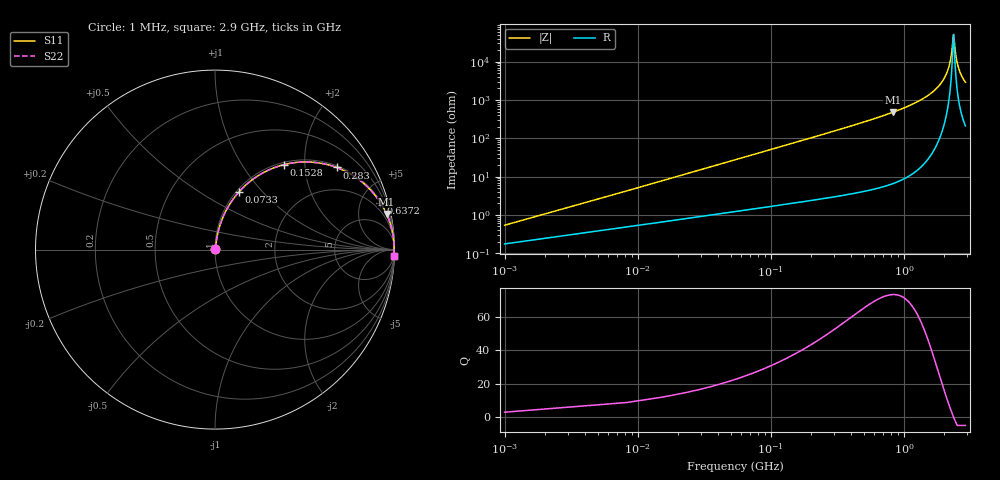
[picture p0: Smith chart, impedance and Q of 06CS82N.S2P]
! Coilcraft 0603CS-82N Chip Inductor
! 21 May 2002
# MHZ S MA R 50
!Freq  MagS11  AngS11  MagS21  AngS21  MagS12  AngS12  MagS22  AngS22
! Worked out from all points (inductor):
!   402 points, 1 MHz to 2.9 GHz, reference 50 ohm
!   read as one part in series: L = 81 nH near 15.46 MHz
!   highest Q = 73.1 at 825.2 MHz (marker M1), where L = 92.2 nH
!   self-resonance near 2.358 GHz
!   S11 on the Smith chart (normalised r, x): 1 MHz: 1.00, +0.01; 73.3 MHz: 1.03, +0.75; 152.8 MHz: 1.04, +1.56; 283 MHz: 1.06, +2.92; 637.2 MHz: 1.10, +6.99; 2.9 GHz: 5, -58
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1  0.005372 70.7  0.9982 -0.3  0.9982 -0.3  0.005372 70.7
22.69  0.1141 79.5  0.9857 -6.5  0.9857 -6.5  0.1141 79.5
29.92  0.1495 78.0  0.9799 -8.6  0.9799 -8.6  0.1495 78.0
51.61  0.2516 72.8  0.9565 -14.6  0.9565 -14.6  0.2516 72.8
73.3  0.3457 67.6  0.9252 -20.2  0.9252 -20.2  0.3457 67.6
152.83  0.6079 51.1  0.7781 -37.4  0.7781 -37.4  0.6079 51.1
282.97  0.8178 34.0  0.5596 -54.9  0.5596 -54.9  0.8178 34.0
485.41  0.9275 21.1  0.3596 -68.0  0.3596 -68.0  0.9275 21.1
637.24  0.9579 15.9  0.2739 -73.3  0.2739 -73.3  0.9579 15.9
825.22  0.9762 11.8  0.2041 -77.4  0.2041 -77.4  0.9762 11.8
969.82  0.9839 9.5  0.1658 -79.7  0.1658 -79.7  0.9839 9.5
1454.23  0.9948 4.8  0.08353 -84.1  0.08353 -84.1  0.9948 4.8
1938.64  0.9978 1.9  0.03312 -85.2  0.03312 -85.2  0.9978 1.9
2097.7  0.9981 1.1  0.01991 -83.8  0.01991 -83.8  0.9981 1.1
2213.38  0.9981 0.6  0.01104 -79.9  0.01104 -79.9  0.9981 0.6
2285.68  0.9981 0.3  0.005855 -71.0  0.005855 -71.0  0.9981 0.3
2357.98  0.9981 0.0  0.001966 -11.1  0.001966 -11.1  0.9981 0.0
2379.67  0.9981 -0.1  0.002256 30.3  0.002256 30.3  0.9981 -0.1
2423.05  0.998 -0.2  0.004587 64.1  0.004587 64.1  0.998 -0.2
2488.12  0.9979 -0.5  0.008776 76.1  0.008776 76.1  0.9979 -0.5
2589.34  0.9977 -0.9  0.01531 81.1  0.01531 81.1  0.9977 -0.9
2900  0.9969 -2.0  0.03423 83.9  0.03423 83.9  0.9969 -2.0
